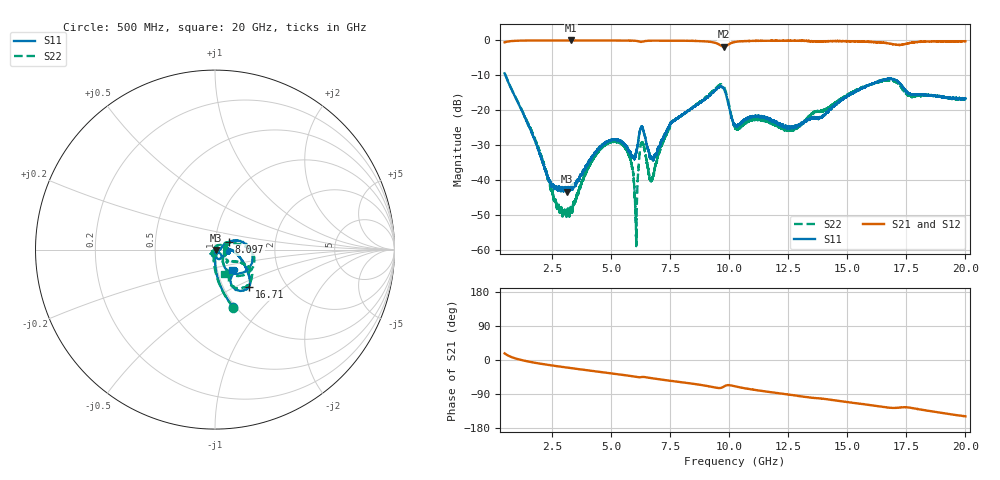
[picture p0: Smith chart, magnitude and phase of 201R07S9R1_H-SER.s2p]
!{201R07S9R1}
!Johanson Technology Inc.
!www.johansontechnology.com
!Test Board Conditions:
!Substrate Type  RO4350B
!Substrate Thickness  10 mil
!Substrate Dk  3.66
!TL Type: GCPW
!TL Trace Width  21 mil
!TL Gap  20 mil
!Electrode orientation  Horizontal
!DUT TOPOLOGY	SERIES
!Mounting Pad LxW  16x21 mil
!Agilent Technologies,N5230A,MY45001966,A.07.50.67
!Agilent N5230A: A.07.50.67
! Created Mon Mar  9 15:47:09 2020
# mhz S ma R 50
! 2 Port Network Data from SP1.SP block
! freq  magS11  angS11  magS21  angS21  magS12  angS12  magS22  angS22
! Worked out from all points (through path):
!   19501 points, 500 MHz to 20 GHz, reference 50 ohm
!   highest |S21| = -0.01 dB at 3.29 GHz (marker M1); lowest = -1.8 dB at 9.771 GHz (marker M2)
!   group delay of S21, straight-line fit = 21.3 ps
!   lowest |S11| = -43.3 dB at 3.134 GHz (marker M3), VSWR 1.01, Z = 50.6 - j0.255 ohm
!   |S11| at or under -10 dB: 533.8 MHz to end of sweep
!   |S22| runs from -58.9 to -9.4 dB; largest |S21 - S12| = 0.016
!   S11 on the Smith chart (normalised r, x): 500 MHz: 0.97, -0.71; 8.097 GHz: 1.17, +0.10; 16.71 GHz: 1.31, -0.60; 20 GHz: 1.18, -0.27
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500  0.3378 -72.3  0.9396 17.4  0.9386 17.4  0.3393 -72.3
2423  0.009678 -52.9  0.9979 -13.6  0.9981 -13.6  0.008133 -131.3
3134  0.006818 -21.7  0.9984 -19.8  0.9978 -19.9  0.003146 169.7
3290  0.007612 -35.7  0.9988 -21.2  0.9973 -21.2  0.004131 -177.2
3750  0.01181 -76.1  0.9974 -25.0  0.9984 -25.0  0.00905 -138.1
4480  0.02788 -101.6  0.9976 -31.1  0.9977 -31.0  0.02567 -133.8
5249  0.03783 -112.2  0.9961 -37.3  0.9966 -37.2  0.03558 -137.1
5769  0.02609 -103.3  0.9943 -41.6  0.9944 -41.6  0.02263 -147.4
6050  0.02343 -51.9  0.9872 -44.3  0.9855 -44.4  0.002857 -139.6
6302  0.05862 -61.4  0.9533 -44.9  0.9538 -44.9  0.03448 -74.3
6692  0.02143 -53.3  0.9906 -47.7  0.9912 -47.7  0.009663 151.0
7000  0.02882 2.5  0.9944 -50.5  0.994 -50.5  0.02325 66.6
7576  0.06693 32.9  0.9917 -55.4  0.9916 -55.4  0.06784 32.1
8097  0.08967 29.0  0.989 -59.6  0.9889 -59.6  0.09021 24.3
9771  0.2048 -38.0  0.8131 -70.5  0.8139 -70.4  0.2188 -39.5
10250  0.06168 -38.2  0.9496 -69.4  0.9489 -69.3  0.05724 -35.8
12642  0.05846 -3.4  0.9884 -92.3  0.9891 -92.3  0.05184 -6.4
13500  0.07714 2.2  0.9777 -99.7  0.9738 -99.7  0.08844 -40.7
16715  0.2826 -47.8  0.9098 -125.5  0.9018 -125.3  0.2684 -44.9
16750  0.2816 -48.4  0.9088 -125.5  0.8987 -125.7  0.2714 -46.4
17669  0.1709 -54.6  0.9242 -125.9  0.9214 -125.8  0.1618 -57.2
20000  0.1482 -50.2  0.9736 -148.7  0.9736 -148.5  0.1482 -69.1
